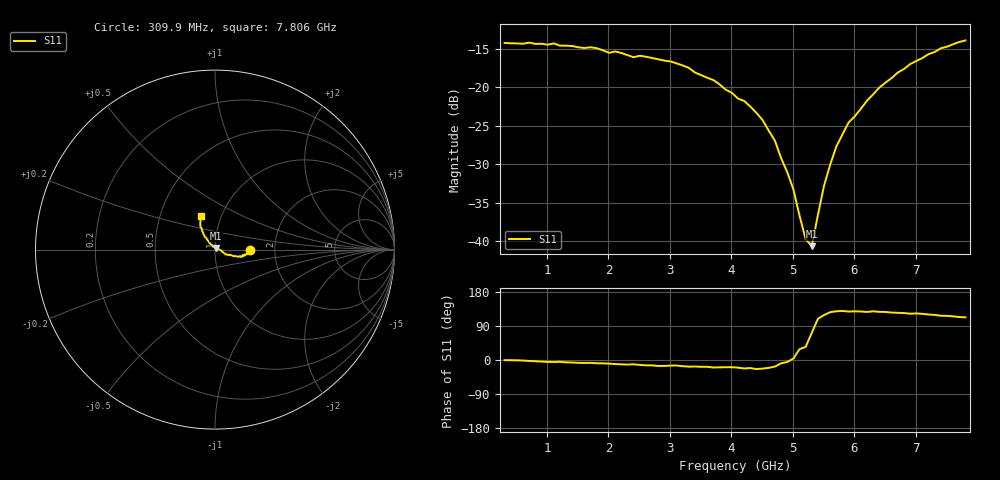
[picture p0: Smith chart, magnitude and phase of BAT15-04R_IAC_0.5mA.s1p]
! Infineon Technologies  Discrete & RF Semiconductors
! BAT15-04R
! IAC = 0.5 mA
! One-Port S-Parameters
# Hz  S  MA  R  50
!f  S11
!Hz  Mag  Ang
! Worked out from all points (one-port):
!   76 points, 309.9 MHz to 7.806 GHz, reference 50 ohm
!   lowest |S11| = -40.6 dB at 5.307 GHz (marker M1), VSWR 1.02, Z = 50.3 + j0.887 ohm
!   |S11| at or under -10 dB: start of sweep to end of sweep
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3.0985e8  0.1939 -0.4
1.10945e9  0.1923 -5.4
1.30935e9  0.186 -6.2
1.70915e9  0.1816 -7.7
2.009e9  0.1672 -9.5
2.10895e9  0.1706 -10.8
2.2089e9  0.1667 -11.5
2.4088e9  0.1566 -11.4
2.6087e9  0.1577 -14.2
3.2084e9  0.1384 -16.4
3.70815e9  0.1112 -19.8
4.10795e9  0.08432 -20.2
4.2079e9  0.08141 -22.4
4.50775e9  0.06111 -22.7
4.70765e9  0.04492 -17.4
5.0075e9  0.02175 3.8
5.2074e9  0.01032 34.7
5.30735e9  0.00929 71.7
5.50725e9  0.023 118.6
5.6072e9  0.03148 126.3
5.70715e9  0.04127 128.6
5.8071e9  0.04942 129.4
5.90705e9  0.05906 127.9
6.007e9  0.06469 128.4
6.4068e9  0.0995 127.1
6.90655e9  0.1411 122.2
7.4063e9  0.179 116.7
7.8061e9  0.2011 112.7
